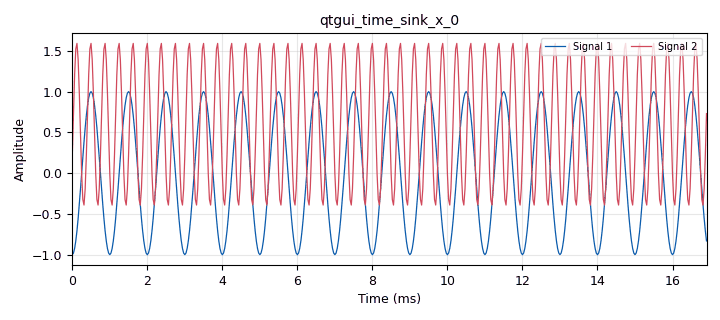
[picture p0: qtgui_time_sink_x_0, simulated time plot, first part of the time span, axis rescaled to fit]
options:
  parameters:
    author: Diana Ariza-Cristian Rugeles-Joan Torres
    description: Prueba de guardado de cambios en github
    generate_options: qt_gui
    id: Github_Test
    output_language: python
    title: Github_Test
  states: {}

blocks:
- name: samp_rate
  id: variable
  parameters:
    value: '32000'
  states: {}
- name: analog_sig_source_x_0
  id: analog_sig_source_x
  parameters:
    amp: '1'
    freq: '1000'
    offset: '0'
    phase: '0'
    samp_rate: samp_rate
    type: float
    waveform: analog.GR_COS_WAVE
  states: {}
- name: blocks_add_const_vxx_0
  id: blocks_add_const_vxx
  parameters:
    const: '.6'
    type: float
  states: {}
- name: qtgui_time_sink_x_0
  id: qtgui_time_sink_x
  parameters:
    nconnections: '2'
    size: '1024'
    srate: samp_rate
    type: float
  states: {}
- name: rational_resampler_xxx_0
  id: rational_resampler_xxx
  parameters:
    decim: '8'
    interp: '3'
    type: fff
  states: {}

connections:
- [analog_sig_source_x_0, '0', blocks_add_const_vxx_0, '0']
- [analog_sig_source_x_0, '0', qtgui_time_sink_x_0, '0']
- [blocks_add_const_vxx_0, '0', rational_resampler_xxx_0, '0']
- [rational_resampler_xxx_0, '0', qtgui_time_sink_x_0, '1']

metadata:
  file_format: 1
  grc_version: 3.10.5.1
